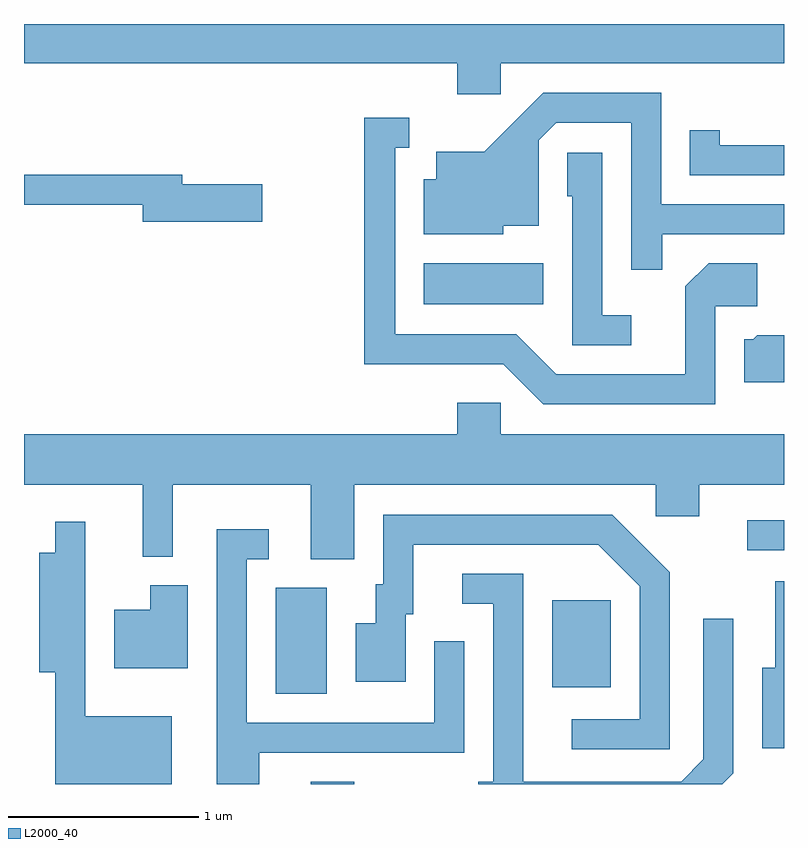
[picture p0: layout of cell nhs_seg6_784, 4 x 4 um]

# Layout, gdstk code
import gdstk
lib = gdstk.Library(unit=1e-6, precision=1e-09)
def R(c, l, rs):  # rectangles x0, y0, x1, y1
    for r in rs: c.add(gdstk.rectangle(r[:2], r[2:], *l))
def P(c, l, *ps):  # polygons
    for p in ps: c.add(gdstk.Polygon(p, *l))
L2000_40 = (2000, 40)

nhs_seg6_784 = lib.new_cell('nhs_seg6_784')
R(nhs_seg6_784, L2000_40, [(209.121,1626.162,209.349,1626.174), (208.936,1626.636,209.204,1627.194), (210.391,1626.671,210.699,1627.129), (211.418,1627.391,211.611,1627.549), (209.716,1628.686,210.344,1628.904)])
P(nhs_seg6_784, L2000_40, [(210.119,1629.956),(211.611,1629.956),(211.611,1630.162),(207.611,1630.162),(207.611,1629.956),(209.891,1629.956),(209.891,1629.791),(210.119,1629.791)],
  [(210.969,1629.056),(211.611,1629.056),(211.611,1629.214),(210.964,1629.214),(210.964,1629.799),(210.344,1629.799),(210.034,1629.489),(209.781,1629.489),(209.781,1629.344),(209.716,1629.344),(209.716,1629.056),(210.134,1629.056),(210.134,1629.101),(210.319,1629.101),(210.319,1629.549),(210.412,1629.641),(210.806,1629.641),(210.806,1628.868),(210.969,1628.868)],
  [(211.249,1628.676),(211.469,1628.676),(211.469,1628.904),(211.214,1628.904),(211.091,1628.782),(211.091,1628.319),(210.412,1628.319),(210.202,1628.529),(209.564,1628.529),(209.564,1629.511),(209.638,1629.511),(209.638,1629.669),(209.401,1629.669),(209.401,1628.371),(210.134,1628.371),(210.344,1628.161),(211.249,1628.161)],
  [(211.611,1629.524),(211.274,1629.524),(211.274,1629.603),(211.116,1629.603),(211.116,1629.366),(211.611,1629.366)],
  [(210.808,1628.629),(210.654,1628.629),(210.654,1629.484),(210.471,1629.484),(210.471,1629.256),(210.496,1629.256),(210.496,1628.471),(210.808,1628.471)],
  [(208.864,1629.319),(208.444,1629.319),(208.444,1629.369),(207.611,1629.369),(207.611,1629.211),(208.236,1629.211),(208.236,1629.121),(208.864,1629.121)],
  [(211.611,1628.524),(211.469,1628.524),(211.449,1628.504),(211.401,1628.504),(211.401,1628.276),(211.611,1628.276)],
  [(210.119,1628.169),(209.891,1628.169),(209.891,1628.004),(207.611,1628.004),(207.611,1627.736),(208.236,1627.736),(208.236,1627.358),(208.394,1627.358),(208.394,1627.736),(209.121,1627.736),(209.121,1627.346),(209.349,1627.346),(209.349,1627.736),(210.936,1627.736),(210.936,1627.571),(211.164,1627.571),(211.164,1627.736),(211.611,1627.736),(211.611,1628.004),(210.119,1628.004)],
  [(211.009,1627.277),(210.707,1627.579),(209.501,1627.579),(209.501,1627.214),(209.461,1627.214),(209.461,1627.009),(209.356,1627.009),(209.356,1626.701),(209.619,1626.701),(209.619,1627.056),(209.659,1627.056),(209.659,1627.421),(210.634,1627.421),(210.851,1627.204),(210.851,1626.504),(210.493,1626.504),(210.493,1626.346),(211.009,1626.346)],
  [(208.389,1626.519),(207.934,1626.519),(207.934,1627.543),(207.776,1627.543),(207.776,1627.379),(207.691,1627.379),(207.691,1626.751),(207.776,1626.751),(207.776,1626.162),(208.389,1626.162)],
  [(208.849,1626.326),(209.929,1626.326),(209.929,1626.913),(209.771,1626.913),(209.771,1626.484),(208.784,1626.484),(208.784,1627.346),(208.898,1627.346),(208.898,1627.504),(208.626,1627.504),(208.626,1626.162),(208.849,1626.162)],
  [(211.344,1626.219),(211.344,1627.033),(211.186,1627.033),(211.186,1626.292),(211.069,1626.174),(210.239,1626.174),(210.239,1627.269),(209.918,1627.269),(209.918,1627.111),(210.081,1627.111),(210.081,1626.174),(210.003,1626.174),(210.003,1626.162),(211.287,1626.162)],
  [(211.611,1627.229),(211.566,1627.229),(211.566,1626.774),(211.496,1626.774),(211.496,1626.351),(211.611,1626.351)],
  [(208.474,1627.209),(208.276,1627.209),(208.276,1627.079),(208.086,1627.079),(208.086,1626.771),(208.474,1626.771)])

lib.write_gds('nhs_seg6_784.gds')
